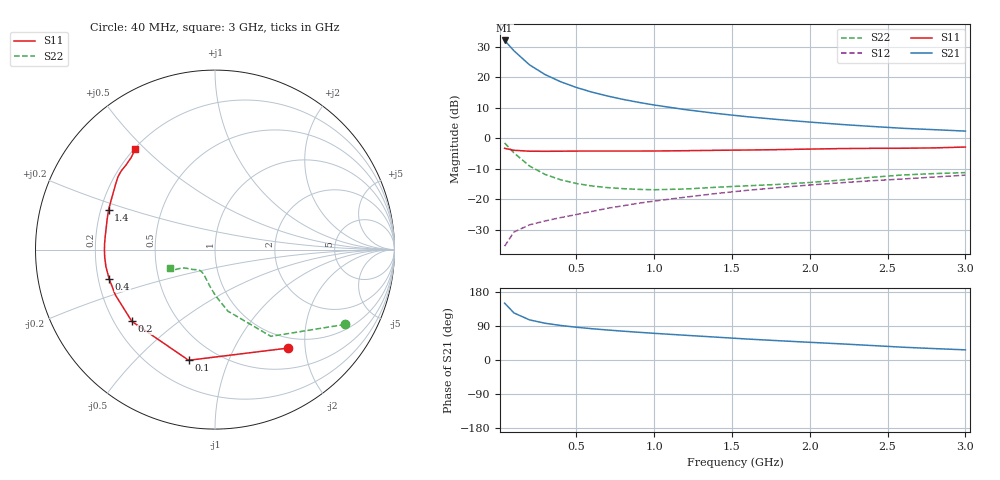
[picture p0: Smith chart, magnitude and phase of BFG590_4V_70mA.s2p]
! Filename:  BFG590G.S2P  Version:  4.0
! Philips part #: BFG590  Date: Jun 1994
! Bias condition: Vce=4V; Ic=70mA
#  MHz  S  MA  R  50
! Freq  S11  S21  S12  S22  !GUM [dB]
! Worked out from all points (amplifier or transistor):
!   21 points, 40 MHz to 3 GHz, reference 50 ohm
!   highest |S21| = 32.0 dB at 40 MHz (marker M1)
!   |S21| within 3 dB of that: start of sweep to 93.17 MHz
!   unconditionally stable (mu >= 1): 676.1 MHz to 2.625 GHz
!   at 300 MHz: K = 0.71, MSG = 24.0 dB, |S12| = -27.1 dB
!   at 1 GHz: K = 1.09, MAG = 14.0 dB, |S12| = -20.6 dB
!   at 3 GHz: K = 0.92, MSG = 7.2 dB, |S12| = -12.1 dB
!   S11 on the Smith chart (normalised r, x): 40 MHz: 0.82, -1.67; 100 MHz: 0.35, -0.73; 200 MHz: 0.27, -0.35; 400 MHz: 0.24, -0.13; 1.4 GHz: 0.23, +0.17; 3 GHz: 0.20, +0.47
40  0.682 -53.6  39.98 150.1  0.017 67.3  0.836 -29.9
100  0.634 -103.4  27.08 124.2  0.029 49.6  0.575 -57.2
200  0.612 -139.2  15.93 105.9  0.038 44.7  0.35 -78.2
300  0.61 -155.5  11.04 97.0  0.044 47.2  0.255 -89.6
400  0.612 -164.7  8.415 91.1  0.05 50.4  0.208 -97.6
500  0.615 -171.0  6.798 86.5  0.056 53.1  0.181 -103.8
600  0.616 -175.8  5.697 82.6  0.063 55.6  0.165 -108.7
700  0.616 -179.8  4.92 79.2  0.071 57.5  0.155 -112.9
800  0.616 176.6  4.329 76.1  0.078 59.1  0.149 -116.6
900  0.616 173.3  3.871 73.2  0.086 60.1  0.145 -120.3
1000  0.617 170.2  3.502 70.4  0.093 60.8  0.143 -124.1
1200  0.624 164.4  2.942 65.3  0.108 61.7  0.147 -130.4
1400  0.633 159.5  2.547 60.3  0.124 61.9  0.157 -134.7
1600  0.64 155.0  2.247 55.3  0.14 61.3  0.166 -138.1
1800  0.65 150.6  2.019 50.9  0.155 60.9  0.175 -141.7
2000  0.663 146.6  1.837 46.7  0.171 60.2  0.188 -146.3
2200  0.676 143.1  1.682 42.6  0.186 59.5  0.206 -150.3
2400  0.682 140.0  1.558 38.2  0.201 57.9  0.229 -152.3
2600  0.684 136.4  1.452 33.7  0.215 56.1  0.25 -153.3
2800  0.694 132.2  1.379 30.1  0.231 54.7  0.263 -154.5
3000  0.716 128.4  1.307 26.8  0.248 53.1  0.273 -157.8
